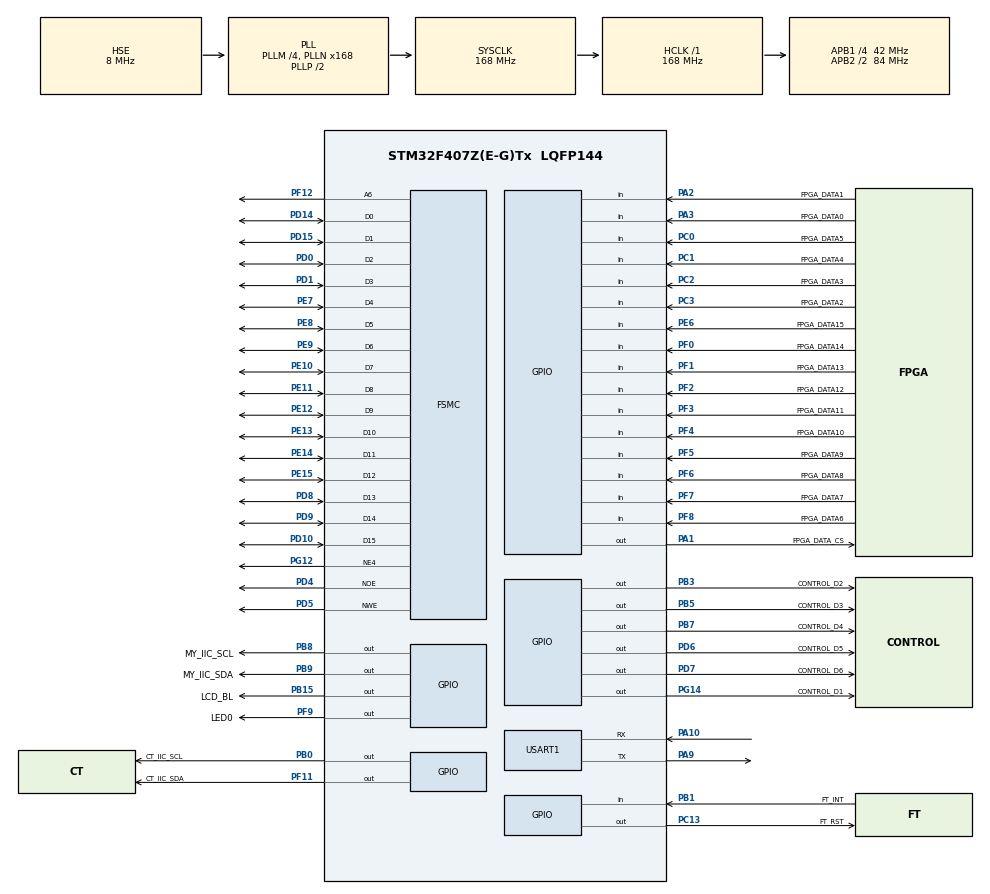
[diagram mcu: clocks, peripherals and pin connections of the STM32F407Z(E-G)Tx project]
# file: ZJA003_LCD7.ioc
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FSMC.AddressSetupTime4=15
FSMC.DataSetupTime4=60
FSMC.ExtendedAddressSetupTime4=9
FSMC.ExtendedBusTurnAroundDuration4=0
FSMC.ExtendedDataSetupTime4=8
FSMC.ExtendedMode4=FSMC_EXTENDED_MODE_ENABLE
Mcu.Family=STM32F4
Mcu.Name=STM32F407Z(E-G)Tx
Mcu.Package=LQFP144
NVIC.PriorityGroup=NVIC_PRIORITYGROUP_4
NVIC.TIM3_IRQn=true\:1\:0\:true\:false\:true\:true\:true
NVIC.TIM4_IRQn=true\:2\:0\:true\:false\:true\:true\:true
NVIC.TIM5_IRQn=true\:3\:0\:true\:false\:true\:true\:true
PA1.GPIO_Label=FPGA_DATA_CS
PA1.GPIO_PuPd=GPIO_PULLUP
PA1.GPIO_Speed=GPIO_SPEED_FREQ_VERY_HIGH
PA1.PinState=GPIO_PIN_SET
PA1.Signal=GPIO_Output
PA10.Mode=Asynchronous
PA10.Signal=USART1_RX
PA13.Mode=Serial_Wire
PA13.Signal=SYS_JTMS-SWDIO
PA14.Mode=Serial_Wire
PA14.Signal=SYS_JTCK-SWCLK
PA2.GPIO_Label=FPGA_DATA1
PA2.Signal=GPIO_Input
PA3.GPIO_Label=FPGA_DATA0
PA3.Signal=GPIO_Input
PA9.Mode=Asynchronous
PA9.Signal=USART1_TX
PB0.GPIO_Label=CT_IIC_SCL
PB0.GPIO_PuPd=GPIO_PULLUP
PB0.GPIO_Speed=GPIO_SPEED_FREQ_VERY_HIGH
PB0.PinState=GPIO_PIN_SET
PB0.Signal=GPIO_Output
PB1.GPIO_Label=FT_INT
PB1.GPIO_PuPd=GPIO_PULLUP
PB1.Signal=GPIO_Input
PB15.GPIO_Label=LCD_BL
PB15.Signal=GPIO_Output
PB3.GPIO_Label=CONTROL_D2
PB3.PinState=GPIO_PIN_SET
PB3.Signal=GPIO_Output
PB5.GPIO_Label=CONTROL_D3
PB5.Signal=GPIO_Output
PB7.GPIO_Label=CONTROL_D4
PB7.PinState=GPIO_PIN_SET
PB7.Signal=GPIO_Output
PB8.GPIO_Label=MY_IIC_SCL
PB8.GPIO_PuPd=GPIO_PULLUP
PB8.GPIO_Speed=GPIO_SPEED_FREQ_HIGH
PB8.PinState=GPIO_PIN_SET
PB8.Signal=GPIO_Output
PB9.GPIO_Label=MY_IIC_SDA
PB9.GPIO_PuPd=GPIO_PULLUP
PB9.GPIO_Speed=GPIO_SPEED_FREQ_HIGH
PB9.PinState=GPIO_PIN_SET
PB9.Signal=GPIO_Output
PC0.GPIO_Label=FPGA_DATA5
PC0.Signal=GPIO_Input
PC1.GPIO_Label=FPGA_DATA4
PC1.Signal=GPIO_Input
PC13-ANTI_TAMP.GPIO_Label=FT_RST
PC13-ANTI_TAMP.GPIO_PuPd=GPIO_PULLUP
PC13-ANTI_TAMP.GPIO_Speed=GPIO_SPEED_FREQ_LOW
PC13-ANTI_TAMP.PinState=GPIO_PIN_RESET
PC13-ANTI_TAMP.Signal=GPIO_Output
PC2.GPIO_Label=FPGA_DATA3
PC2.Signal=GPIO_Input
PC3.GPIO_Label=FPGA_DATA2
PC3.Signal=GPIO_Input
PD0.Signal=FSMC_D2_DA2
PD1.Signal=FSMC_D3_DA3
PD10.Signal=FSMC_D15_DA15
PD14.Signal=FSMC_D0_DA0
PD15.Signal=FSMC_D1_DA1
PD4.Signal=FSMC_NOE
PD5.Signal=FSMC_NWE
PD6.GPIO_Label=CONTROL_D5
PD6.PinState=GPIO_PIN_SET
PD6.Signal=GPIO_Output
PD7.GPIO_Label=CONTROL_D6
PD7.Signal=GPIO_Output
PD8.Signal=FSMC_D13_DA13
PD9.Signal=FSMC_D14_DA14
PE10.Signal=FSMC_D7_DA7
PE11.Signal=FSMC_D8_DA8
PE12.Signal=FSMC_D9_DA9
PE13.Signal=FSMC_D10_DA10
PE14.Signal=FSMC_D11_DA11
PE15.Signal=FSMC_D12_DA12
PE6.GPIO_Label=FPGA_DATA15
PE6.Signal=GPIO_Input
PE7.Signal=FSMC_D4_DA4
PE8.Signal=FSMC_D5_DA5
PE9.Signal=FSMC_D6_DA6
PF0.GPIO_Label=FPGA_DATA14
PF0.Signal=GPIO_Input
PF1.GPIO_Label=FPGA_DATA13
PF1.Signal=GPIO_Input
PF11.GPIO_Label=CT_IIC_SDA
PF11.GPIO_ModeDefaultOutputPP=GPIO_MODE_OUTPUT_PP
PF11.GPIO_PuPd=GPIO_PULLUP
PF11.GPIO_Speed=GPIO_SPEED_FREQ_VERY_HIGH
PF11.PinState=GPIO_PIN_SET
PF11.Signal=GPIO_Output
PF12.Signal=FSMC_A6
PF2.GPIO_Label=FPGA_DATA12
PF2.Signal=GPIO_Input
PF3.GPIO_Label=FPGA_DATA11
PF3.Signal=GPIO_Input
PF4.GPIO_Label=FPGA_DATA10
PF4.Signal=GPIO_Input
PF5.GPIO_Label=FPGA_DATA9
PF5.Signal=GPIO_Input
PF6.GPIO_Label=FPGA_DATA8
PF6.Signal=GPIO_Input
PF7.GPIO_Label=FPGA_DATA7
PF7.Signal=GPIO_Input
PF8.GPIO_Label=FPGA_DATA6
PF8.Signal=GPIO_Input
PF9.GPIO_Label=LED0
PF9.PinState=GPIO_PIN_SET
PF9.Signal=GPIO_Output
PG12.Mode=NorPsramChipSelect4_4
PG12.Signal=FSMC_NE4
PG14.GPIO_Label=CONTROL_D1
PG14.PinState=GPIO_PIN_SET
PG14.Signal=GPIO_Output
PH0-OSC_IN.Mode=HSE-External-Oscillator
PH0-OSC_IN.Signal=RCC_OSC_IN
PH1-OSC_OUT.Mode=HSE-External-Oscillator
PH1-OSC_OUT.Signal=RCC_OSC_OUT
ProjectManager.HeapSize=0x200
ProjectManager.StackSize=0x400
ProjectManager.TargetToolchain=SW4STM32
RCC.48MHZClocksFreq_Value=84000000
RCC.AHBFreq_Value=168000000
RCC.APB1CLKDivider=RCC_HCLK_DIV4
RCC.APB1Freq_Value=42000000
RCC.APB1TimFreq_Value=84000000
RCC.APB2CLKDivider=RCC_HCLK_DIV2
RCC.APB2Freq_Value=84000000
RCC.APB2TimFreq_Value=168000000
RCC.CortexFreq_Value=168000000
RCC.HCLKFreq_Value=168000000
RCC.HSE_VALUE=8000000
RCC.HSI_VALUE=16000000
RCC.LSE_VALUE=32768
RCC.PLLM=4
RCC.PLLN=168
RCC.PLLSourceVirtual=RCC_PLLSOURCE_HSE
RCC.SYSCLKFreq_VALUE=168000000
RCC.SYSCLKSource=RCC_SYSCLKSOURCE_PLLCLK
RCC.VCOOutputFreq_Value=336000000
SH.FSMC_A6.0=FSMC_A6,A6_4
SH.FSMC_D0_DA0.0=FSMC_D0,16b-d4
SH.FSMC_D10_DA10.0=FSMC_D10,16b-d4
SH.FSMC_D11_DA11.0=FSMC_D11,16b-d4
SH.FSMC_D12_DA12.0=FSMC_D12,16b-d4
SH.FSMC_D13_DA13.0=FSMC_D13,16b-d4
SH.FSMC_D14_DA14.0=FSMC_D14,16b-d4
SH.FSMC_D15_DA15.0=FSMC_D15,16b-d4
SH.FSMC_D1_DA1.0=FSMC_D1,16b-d4
SH.FSMC_D2_DA2.0=FSMC_D2,16b-d4
SH.FSMC_D3_DA3.0=FSMC_D3,16b-d4
SH.FSMC_D4_DA4.0=FSMC_D4,16b-d4
SH.FSMC_D5_DA5.0=FSMC_D5,16b-d4
SH.FSMC_D6_DA6.0=FSMC_D6,16b-d4
SH.FSMC_D7_DA7.0=FSMC_D7,16b-d4
SH.FSMC_D8_DA8.0=FSMC_D8,16b-d4
SH.FSMC_D9_DA9.0=FSMC_D9,16b-d4
SH.FSMC_NOE.0=FSMC_NOE,Lcd4
SH.FSMC_NWE.0=FSMC_NWE,Lcd4
TIM3.AutoReloadPreload=TIM_AUTORELOAD_PRELOAD_ENABLE
TIM3.Period=999
TIM3.Prescaler=83
TIM4.AutoReloadPreload=TIM_AUTORELOAD_PRELOAD_ENABLE
TIM4.Period=999
TIM4.Prescaler=839
TIM5.AutoReloadPreload=TIM_AUTORELOAD_PRELOAD_ENABLE
TIM5.Period=8399
TIM5.Prescaler=4999
TIM6.AutoReloadPreload=TIM_AUTORELOAD_PRELOAD_ENABLE
TIM6.Prescaler=83
USART1.VirtualMode=VM_ASYNC
VP_CRC_VS_CRC.Mode=CRC_Activate
VP_TIM3_VS_ClockSourceINT.Mode=Internal
VP_TIM4_VS_ClockSourceINT.Mode=Internal
VP_TIM5_VS_ClockSourceINT.Mode=Internal
VP_TIM6_VS_ClockSourceINT.Mode=Enable_Timer
board=custom

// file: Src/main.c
/* USER CODE BEGIN Header */
/**
  ******************************************************************************
  * @file           : main.c
  * @brief          : Main program body
  ******************************************************************************
  * @attention
  *
  * <h2><center>&copy; Copyright (c) 2020 STMicroelectronics.
  * All rights reserved.</center></h2>
  *
  * This software component is licensed by ST under BSD 3-Clause license,
  * the "License"; You may not use this file except in compliance with the
  * License. You may obtain a copy of the License at:
  *                        opensource.org/licenses/BSD-3-Clause
  *
  ******************************************************************************
  */
/* USER CODE END Header */
#include "main.h"
#include "crc.h"
#include "tim.h"
#include "usart.h"
#include "gpio.h"
#include "fsmc.h"

/* USER CODE BEGIN Includes */
#include <stdio.h>
#include "retarget.h"
#include "ILI93xx.h"
#include "GUI.h"
#include "touch.h"
#include "emwinDemo.h"
#include "DIALOG.h"
#include "FFT.h"
#include "ParallelCommunication.h"
/* USER CODE END Includes */

/* USER CODE BEGIN PV */
extern WM_HWIN hWin_user;//对话框
extern int auto_flag;
extern int count;
/* USER CODE END PV */

void SystemClock_Config(void);

int main(void)
{
  /* USER CODE BEGIN 1 */
    WM_MESSAGE message;
  /* USER CODE END 1 */

  /* MCU Configuration--------------------------------------------------------*/

  /* Reset of all peripherals, Initializes the Flash interface and the Systick. */
  HAL_Init();

  /* Configure the system clock */
  SystemClock_Config();

  /* Initialize all configured peripherals */
  MX_GPIO_Init();
  MX_USART1_UART_Init();
  MX_FSMC_Init();
  MX_CRC_Init();
  MX_TIM4_Init();
  MX_TIM5_Init();
  MX_TIM3_Init();
  MX_TIM6_Init();
  /* USER CODE BEGIN 2 */
    RetargetInit(&huart1);
    TFTLCD_Init();
    TP_Init();

    FFT_Init();

    WM_SetCreateFlags(WM_CF_MEMDEV);
    GUI_Init();

    HAL_TIM_Base_Start_IT(&htim3);
    HAL_TIM_Base_Start_IT(&htim4);
    HAL_TIM_Base_Start_IT(&htim5);
    HAL_TIM_Base_Start_IT(&htim6);

    emwinDemo();

  /* USER CODE END 2 */

  /* Infinite loop */
  /* USER CODE BEGIN WHILE */
  while (1)
  {
      GUI_Delay(100);
      getWaveData();
      FFT_Process();
      message.MsgId = WM_SHOW_MSG;
      WM_SendMessage(WM_GetClientWindow(hWin_user), &message);//发送消息给窗口

      if(auto_flag)
      {
          count++;
          if(count>=35)
          {
              if(auto_flag==1)
              {
                  auto_flag = 2;//顶部
                  CONTROL_D1_HIGH;
                  CONTROL_D2_LOW;
                  CONTROL_D3_LOW;
                  CONTROL_D4_HIGH;
                  CONTROL_D5_HIGH;
                  CONTROL_D6_HIGH;
              }
              else if(auto_flag==2)
              {
                  auto_flag = 3;//底部
                  CONTROL_D1_LOW;
                  CONTROL_D2_LOW;
                  CONTROL_D3_LOW;
                  CONTROL_D4_HIGH;
                  CONTROL_D5_HIGH;
                  CONTROL_D6_HIGH;
              }
              else if(auto_flag==3)
              {
                  auto_flag = 4;//双向
                  CONTROL_D1_LOW;
                  CONTROL_D2_LOW;
                  CONTROL_D3_LOW;
                  CONTROL_D4_LOW;
                  CONTROL_D5_HIGH;
                  CONTROL_D6_HIGH;
              }
              else if(auto_flag==4)
              {
                  auto_flag = 5;//交越
                  CONTROL_D1_HIGH;
                  CONTROL_D2_HIGH;
                  CONTROL_D3_LOW;
                  CONTROL_D4_HIGH;
                  CONTROL_D5_LOW;
                  CONTROL_D6_LOW;
              }
              else if(auto_flag==5)
              {
                  auto_flag = 1;//正常
                  CONTROL_D1_HIGH;
                  CONTROL_D2_HIGH;
                  CONTROL_D3_LOW;
                  CONTROL_D4_HIGH;
                  CONTROL_D5_HIGH;
                  CONTROL_D6_HIGH;
              }
              count = 0;
              message.MsgId = WM_AUTO_MSG;
              WM_SendMessage(WM_GetClientWindow(hWin_user), &message);//发送消息给窗口
          }
      }

    /* USER CODE END WHILE */

  }
}

void SystemClock_Config(void)
{
  RCC_OscInitTypeDef RCC_OscInitStruct = {0};
  RCC_ClkInitTypeDef RCC_ClkInitStruct = {0};

  /** Configure the main internal regulator output voltage
  */
  __HAL_RCC_PWR_CLK_ENABLE();
  __HAL_PWR_VOLTAGESCALING_CONFIG(PWR_REGULATOR_VOLTAGE_SCALE1);
  /** Initializes the RCC Oscillators according to the specified parameters
  * in the RCC_OscInitTypeDef structure.
  */
  RCC_OscInitStruct.OscillatorType = RCC_OSCILLATORTYPE_HSE;
  RCC_OscInitStruct.HSEState = RCC_HSE_ON;
  RCC_OscInitStruct.PLL.PLLState = RCC_PLL_ON;
  RCC_OscInitStruct.PLL.PLLSource = RCC_PLLSOURCE_HSE;
  RCC_OscInitStruct.PLL.PLLM = 4;
  RCC_OscInitStruct.PLL.PLLN = 168;
  RCC_OscInitStruct.PLL.PLLP = RCC_PLLP_DIV2;
  RCC_OscInitStruct.PLL.PLLQ = 4;
  if (HAL_RCC_OscConfig(&RCC_OscInitStruct) != HAL_OK)
  {
    Error_Handler();
  }
  /** Initializes the CPU, AHB and APB buses clocks
  */
  RCC_ClkInitStruct.ClockType = RCC_CLOCKTYPE_HCLK|RCC_CLOCKTYPE_SYSCLK
                              |RCC_CLOCKTYPE_PCLK1|RCC_CLOCKTYPE_PCLK2;
  RCC_ClkInitStruct.SYSCLKSource = RCC_SYSCLKSOURCE_PLLCLK;
  RCC_ClkInitStruct.AHBCLKDivider = RCC_SYSCLK_DIV1;
  RCC_ClkInitStruct.APB1CLKDivider = RCC_HCLK_DIV4;
  RCC_ClkInitStruct.APB2CLKDivider = RCC_HCLK_DIV2;

  if (HAL_RCC_ClockConfig(&RCC_ClkInitStruct, FLASH_LATENCY_5) != HAL_OK)
  {
    Error_Handler();
  }
}

void Error_Handler(void)
{
}

/************************ (C) COPYRIGHT STMicroelectronics *****END OF FILE****/
